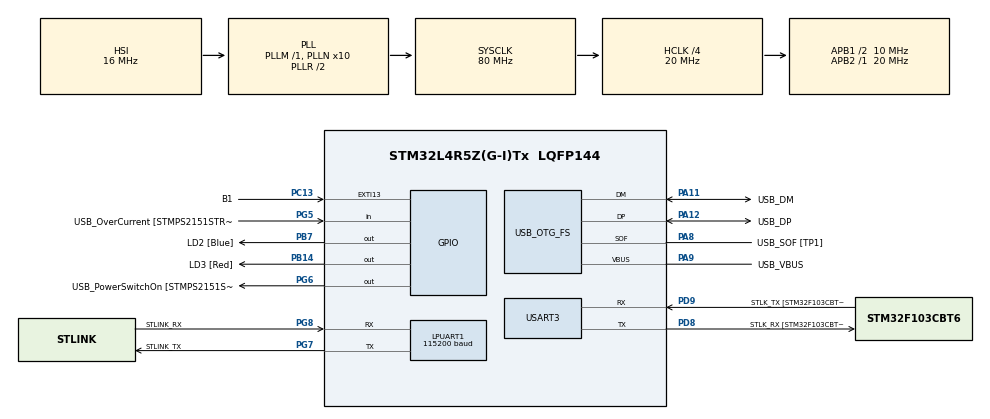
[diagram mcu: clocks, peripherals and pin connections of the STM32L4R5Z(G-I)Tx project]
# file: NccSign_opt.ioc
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LPUART1.BaudRate=115200
LPUART1.WordLength=UART_WORDLENGTH_8B
Mcu.Family=STM32L4
Mcu.Name=STM32L4R5Z(G-I)Tx
Mcu.Package=LQFP144
NVIC.PriorityGroup=NVIC_PRIORITYGROUP_4
PA10.GPIO_Label=USB_ID
PA10.Signal=USB_OTG_FS_ID
PA11.GPIO_Label=USB_DM
PA11.Mode=Device_Only
PA11.Signal=USB_OTG_FS_DM
PA12.GPIO_Label=USB_DP
PA12.Mode=Device_Only
PA12.Signal=USB_OTG_FS_DP
PA13\ (JTMS/SWDIO).GPIO_Label=TMS
PA13\ (JTMS/SWDIO).Mode=Trace_Asynchronous_SW
PA13\ (JTMS/SWDIO).Signal=SYS_JTMS-SWDIO
PA14\ (JTCK/SWCLK).GPIO_Label=TCK
PA14\ (JTCK/SWCLK).Mode=Trace_Asynchronous_SW
PA14\ (JTCK/SWCLK).Signal=SYS_JTCK-SWCLK
PA8.GPIO_Label=USB_SOF [TP1]
PA8.Mode=Activate_SOF_FS
PA8.Signal=USB_OTG_FS_SOF
PA9.GPIO_Label=USB_VBUS
PA9.Mode=Activate_VBUS
PA9.Signal=USB_OTG_FS_VBUS
PB14.GPIO_Label=LD3 [Red]
PB14.Signal=GPIO_Output
PB3\ (JTDO/TRACESWO).GPIO_Label=SWO
PB3\ (JTDO/TRACESWO).Mode=Trace_Asynchronous_SW
PB3\ (JTDO/TRACESWO).Signal=SYS_JTDO-SWO
PB7.GPIO_Label=LD2 [Blue]
PB7.Signal=GPIO_Output
PC13.GPIO_Label=B1
PC13.Signal=GPXTI13
PC14-OSC32_IN\ (PC14).Mode=LSE-External-Oscillator
PC14-OSC32_IN\ (PC14).Signal=RCC_OSC32_IN
PC15-OSC32_OUT\ (PC15).Mode=LSE-External-Oscillator
PC15-OSC32_OUT\ (PC15).Signal=RCC_OSC32_OUT
PD8.GPIO_Label=STLK_RX [STM32F103CBT6_PA3]
PD8.Mode=Asynchronous
PD8.Signal=USART3_TX
PD9.GPIO_Label=STLK_TX [STM32F103CBT6_PA2]
PD9.Mode=Asynchronous
PD9.Signal=USART3_RX
PG5.GPIO_Label=USB_OverCurrent [STMPS2151STR_FAULT]
PG5.Signal=GPIO_Input
PG6.GPIO_Label=USB_PowerSwitchOn [STMPS2151STR_EN]
PG6.Signal=GPIO_Output
PG7.GPIO_Label=STLINK_TX
PG7.Mode=Asynchronous
PG7.Signal=LPUART1_TX
PG8.GPIO_Label=STLINK_RX
PG8.Mode=Asynchronous
PG8.Signal=LPUART1_RX
PH0-OSC_IN\ (PH0).Signal=RCC_OSC_IN
PH1-OSC_OUT\ (PH1).Signal=RCC_OSC_OUT
ProjectManager.HeapSize=0x200
ProjectManager.StackSize=0x400
ProjectManager.TargetToolchain=STM32CubeIDE
RCC.48MHZClocksFreq_Value=24000000
RCC.ADCFreq_Value=96000000
RCC.AHBCLKDivider=RCC_SYSCLK_DIV4
RCC.AHBFreq_Value=20000000
RCC.APB1CLKDivider=RCC_HCLK_DIV2
RCC.APB1Freq_Value=10000000
RCC.APB1TimFreq_Value=20000000
RCC.APB2Freq_Value=20000000
RCC.APB2TimFreq_Value=20000000
RCC.CK48CLockSelection=RCC_USBCLKSOURCE_HSI48
RCC.CortexFreq_Value=20000000
RCC.HCLKFreq_Value=20000000
RCC.HSE_VALUE=8000000
RCC.HSI48_VALUE=48000000
RCC.HSI_VALUE=16000000
RCC.MSI_VALUE=4000000
RCC.PLLMUL=RCC_PLL_MUL9
RCC.PLLN=10
RCC.PLLSAI1N=12
RCC.PLLSourceVirtual=RCC_PLLSOURCE_HSI
RCC.PRESCALERUSB=RCC_USBCLKSOURCE_PLL_DIV1_5
RCC.SYSCLKFreq_VALUE=80000000
RCC.SYSCLKSource=RCC_SYSCLKSOURCE_PLLCLK
RCC.SYSCLKSourceVirtual=RCC_SYSCLKSOURCE_PLLCLK
RCC.USBFreq_Value=48000000
RCC.VCOOutputFreq_Value=160000000
USART3.VirtualMode-Asynchronous=VM_ASYNC
USB_OTG_FS.VirtualMode=Device_Only
board=NUCLEO-L4R5ZI

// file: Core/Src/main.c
/* USER CODE BEGIN Header */
/**
  ******************************************************************************
  * @file           : main.c
  * @brief          : Main program body
  ******************************************************************************
  * @attention
  *
  * Copyright (c) 2024 STMicroelectronics.
  * All rights reserved.
  *
  * This software is licensed under terms that can be found in the LICENSE file
  * in the root directory of this software component.
  * If no LICENSE file comes with this software, it is provided AS-IS.
  *
  ******************************************************************************
  */
/* USER CODE END Header */
#include "main.h"

/* USER CODE BEGIN Includes */
#include <stdio.h>
#include <time.h>
#include <stdlib.h>
#include "ncc/sign.h"
/* USER CODE END Includes */

UART_HandleTypeDef hlpuart1;
UART_HandleTypeDef huart3;

PCD_HandleTypeDef hpcd_USB_OTG_FS;

void SystemClock_Config(void);
static void MX_GPIO_Init(void);
static void MX_LPUART1_UART_Init(void);
static void MX_USART3_UART_Init(void);
static void MX_USB_OTG_FS_PCD_Init(void);

/* USER CODE BEGIN 0 */
int __io_putchar(int ch)
{
	HAL_UART_Transmit(&hlpuart1, (uint8_t*)&ch, 1, 100);
	return ch;
}

#define _TIMES_ 100

/* USER CODE END 0 */

int main(void)
{

  /* USER CODE BEGIN 1 */
	uint8_t pk[CRYPTO_PUBLICKEYBYTES];
	uint8_t sk[CRYPTO_SECRETKEYBYTES];
	uint8_t sig[CRYPTO_BYTES ];
	uint8_t m[32] = { 0x00, };
	size_t mlen = 32;
	size_t siglen = 0;
	int ret = 0;

    //address of the register
    volatile unsigned int *DWT_CYCCNT   = (volatile unsigned int *)0xE0001004;

    //address of the register
    volatile unsigned int *DWT_CONTROL  = (volatile unsigned int *)0xE0001000;

    //address of the register
    volatile unsigned int *DWT_LAR      = (volatile unsigned int *)0xE0001FB0;

    //address of the register
    volatile unsigned int *SCB_DEMCR    = (volatile unsigned int *)0xE000EDFC;

    int before, after, consumed_keygen = 0, consumed_sign = 0, consumed_verify = 0;

    *DWT_LAR = 0xC5ACCE55; // unlock (CM7)
    *SCB_DEMCR |= 0x01000000;
    *DWT_CYCCNT = 0; // reset the counter
    *DWT_CONTROL |= 1 ; // enable the counter

  /* USER CODE END 1 */

  /* MCU Configuration--------------------------------------------------------*/

  /* Reset of all peripherals, Initializes the Flash interface and the Systick. */
  HAL_Init();

  /* Configure the system clock */
  SystemClock_Config();

  /* Initialize all configured peripherals */
  MX_GPIO_Init();
  MX_LPUART1_UART_Init();
  MX_USART3_UART_Init();
  MX_USB_OTG_FS_PCD_Init();

  /* Infinite loop */
  /* USER CODE BEGIN WHILE */

  HAL_GPIO_WritePin(GPIOB, LD2_Pin|LD3_Pin, GPIO_PIN_SET);
  HAL_Delay(100);
  HAL_GPIO_WritePin(GPIOB, LD2_Pin|LD3_Pin, GPIO_PIN_RESET);
  HAL_Delay(100);

#if NIMS_TRI_NTT_MODE==1
  printf("[hello ncc1]\r\n");
#elif NIMS_TRI_NTT_MODE==3
  printf("[hello ncc3]\r\n");
#elif NIMS_TRI_NTT_MODE==5
  printf("[hello ncc5]\r\n");
#endif

  for(int i=0;i<_TIMES_; i++){
	  printf("(%d, ", i);
	  before = *DWT_CYCCNT;
	  crypto_sign_keypair(pk, sk);
	  after = *DWT_CYCCNT;
	  consumed_keygen += (after - before - 2);

	  before = *DWT_CYCCNT;
	  ret = crypto_sign_signature(sig, &siglen, m, mlen, sk);
	  after = *DWT_CYCCNT;
	  consumed_sign += (after - before - 2);
	  printf(",%d", ret);

	  before = *DWT_CYCCNT;
	  ret = crypto_sign_verify(sig, siglen, m, mlen, pk);
	  after = *DWT_CYCCNT;
	  consumed_verify += (after - before - 2);
	  printf(", %d)\r\n", ret);
  }

  printf("keygen cc : %d\r\n", consumed_keygen/_TIMES_);
  printf("sign cc : %d\r\n", consumed_sign/_TIMES_);
  printf("verify cc : %d\r\n", consumed_verify/_TIMES_);

  while (1)
  {
    /* USER CODE END WHILE */

  }
}

void SystemClock_Config(void)
{
  RCC_OscInitTypeDef RCC_OscInitStruct = {0};
  RCC_ClkInitTypeDef RCC_ClkInitStruct = {0};

  /** Configure the main internal regulator output voltage
  */
  if (HAL_PWREx_ControlVoltageScaling(PWR_REGULATOR_VOLTAGE_SCALE1) != HAL_OK)
  {
    Error_Handler();
  }

  /** Initializes the RCC Oscillators according to the specified parameters
  * in the RCC_OscInitTypeDef structure.
  */
  RCC_OscInitStruct.OscillatorType = RCC_OSCILLATORTYPE_HSI48|RCC_OSCILLATORTYPE_HSI;
  RCC_OscInitStruct.HSIState = RCC_HSI_ON;
  RCC_OscInitStruct.HSI48State = RCC_HSI48_ON;
  RCC_OscInitStruct.HSICalibrationValue = RCC_HSICALIBRATION_DEFAULT;
  RCC_OscInitStruct.PLL.PLLState = RCC_PLL_ON;
  RCC_OscInitStruct.PLL.PLLSource = RCC_PLLSOURCE_HSI;
  RCC_OscInitStruct.PLL.PLLM = 1;
  RCC_OscInitStruct.PLL.PLLN = 10;
  RCC_OscInitStruct.PLL.PLLP = RCC_PLLP_DIV2;
  RCC_OscInitStruct.PLL.PLLQ = RCC_PLLQ_DIV2;
  RCC_OscInitStruct.PLL.PLLR = RCC_PLLR_DIV2;
  if (HAL_RCC_OscConfig(&RCC_OscInitStruct) != HAL_OK)
  {
    Error_Handler();
  }

  /** Initializes the CPU, AHB and APB buses clocks
  */
  RCC_ClkInitStruct.ClockType = RCC_CLOCKTYPE_HCLK|RCC_CLOCKTYPE_SYSCLK
                              |RCC_CLOCKTYPE_PCLK1|RCC_CLOCKTYPE_PCLK2;
  RCC_ClkInitStruct.SYSCLKSource = RCC_SYSCLKSOURCE_PLLCLK;
  RCC_ClkInitStruct.AHBCLKDivider = RCC_SYSCLK_DIV4;
  RCC_ClkInitStruct.APB1CLKDivider = RCC_HCLK_DIV2;
  RCC_ClkInitStruct.APB2CLKDivider = RCC_HCLK_DIV1;

  if (HAL_RCC_ClockConfig(&RCC_ClkInitStruct, FLASH_LATENCY_0) != HAL_OK)
  {
    Error_Handler();
  }
}

static void MX_LPUART1_UART_Init(void)
{

  hlpuart1.Instance = LPUART1;
  hlpuart1.Init.BaudRate = 115200;
  hlpuart1.Init.WordLength = UART_WORDLENGTH_8B;
  hlpuart1.Init.StopBits = UART_STOPBITS_1;
  hlpuart1.Init.Parity = UART_PARITY_NONE;
  hlpuart1.Init.Mode = UART_MODE_TX_RX;
  hlpuart1.Init.HwFlowCtl = UART_HWCONTROL_NONE;
  hlpuart1.Init.OneBitSampling = UART_ONE_BIT_SAMPLE_DISABLE;
  hlpuart1.Init.ClockPrescaler = UART_PRESCALER_DIV1;
  hlpuart1.AdvancedInit.AdvFeatureInit = UART_ADVFEATURE_NO_INIT;
  hlpuart1.FifoMode = UART_FIFOMODE_DISABLE;
  if (HAL_UART_Init(&hlpuart1) != HAL_OK)
  {
    Error_Handler();
  }
  if (HAL_UARTEx_SetTxFifoThreshold(&hlpuart1, UART_TXFIFO_THRESHOLD_1_8) != HAL_OK)
  {
    Error_Handler();
  }
  if (HAL_UARTEx_SetRxFifoThreshold(&hlpuart1, UART_RXFIFO_THRESHOLD_1_8) != HAL_OK)
  {
    Error_Handler();
  }
  if (HAL_UARTEx_DisableFifoMode(&hlpuart1) != HAL_OK)
  {
    Error_Handler();
  }

}

static void MX_USART3_UART_Init(void)
{

  huart3.Instance = USART3;
  huart3.Init.BaudRate = 115200;
  huart3.Init.WordLength = UART_WORDLENGTH_8B;
  huart3.Init.StopBits = UART_STOPBITS_1;
  huart3.Init.Parity = UART_PARITY_NONE;
  huart3.Init.Mode = UART_MODE_TX_RX;
  huart3.Init.HwFlowCtl = UART_HWCONTROL_NONE;
  huart3.Init.OverSampling = UART_OVERSAMPLING_16;
  huart3.Init.OneBitSampling = UART_ONE_BIT_SAMPLE_DISABLE;
  huart3.Init.ClockPrescaler = UART_PRESCALER_DIV1;
  huart3.AdvancedInit.AdvFeatureInit = UART_ADVFEATURE_NO_INIT;
  if (HAL_UART_Init(&huart3) != HAL_OK)
  {
    Error_Handler();
  }
  if (HAL_UARTEx_SetTxFifoThreshold(&huart3, UART_TXFIFO_THRESHOLD_1_8) != HAL_OK)
  {
    Error_Handler();
  }
  if (HAL_UARTEx_SetRxFifoThreshold(&huart3, UART_RXFIFO_THRESHOLD_1_8) != HAL_OK)
  {
    Error_Handler();
  }
  if (HAL_UARTEx_DisableFifoMode(&huart3) != HAL_OK)
  {
    Error_Handler();
  }

}

static void MX_USB_OTG_FS_PCD_Init(void)
{

  hpcd_USB_OTG_FS.Instance = USB_OTG_FS;
  hpcd_USB_OTG_FS.Init.dev_endpoints = 6;
  hpcd_USB_OTG_FS.Init.speed = PCD_SPEED_FULL;
  hpcd_USB_OTG_FS.Init.phy_itface = PCD_PHY_EMBEDDED;
  hpcd_USB_OTG_FS.Init.Sof_enable = ENABLE;
  hpcd_USB_OTG_FS.Init.low_power_enable = DISABLE;
  hpcd_USB_OTG_FS.Init.lpm_enable = DISABLE;
  hpcd_USB_OTG_FS.Init.battery_charging_enable = ENABLE;
  hpcd_USB_OTG_FS.Init.use_dedicated_ep1 = DISABLE;
  hpcd_USB_OTG_FS.Init.vbus_sensing_enable = ENABLE;
  if (HAL_PCD_Init(&hpcd_USB_OTG_FS) != HAL_OK)
  {
    Error_Handler();
  }

}

static void MX_GPIO_Init(void)
{
  GPIO_InitTypeDef GPIO_InitStruct = {0};

  /* GPIO Ports Clock Enable */
  __HAL_RCC_GPIOC_CLK_ENABLE();
  __HAL_RCC_GPIOH_CLK_ENABLE();
  __HAL_RCC_GPIOB_CLK_ENABLE();
  __HAL_RCC_GPIOD_CLK_ENABLE();
  __HAL_RCC_GPIOG_CLK_ENABLE();
  HAL_PWREx_EnableVddIO2();
  __HAL_RCC_GPIOA_CLK_ENABLE();

  /*Configure GPIO pin Output Level */
  HAL_GPIO_WritePin(GPIOB, LD3_Pin|LD2_Pin, GPIO_PIN_RESET);

  /*Configure GPIO pin Output Level */
  HAL_GPIO_WritePin(USB_PowerSwitchOn_GPIO_Port, USB_PowerSwitchOn_Pin, GPIO_PIN_RESET);

  /*Configure GPIO pin : B1_Pin */
  GPIO_InitStruct.Pin = B1_Pin;
  GPIO_InitStruct.Mode = GPIO_MODE_IT_RISING;
  GPIO_InitStruct.Pull = GPIO_NOPULL;
  HAL_GPIO_Init(B1_GPIO_Port, &GPIO_InitStruct);

  /*Configure GPIO pins : LD3_Pin LD2_Pin */
  GPIO_InitStruct.Pin = LD3_Pin|LD2_Pin;
  GPIO_InitStruct.Mode = GPIO_MODE_OUTPUT_PP;
  GPIO_InitStruct.Pull = GPIO_NOPULL;
  GPIO_InitStruct.Speed = GPIO_SPEED_FREQ_LOW;
  HAL_GPIO_Init(GPIOB, &GPIO_InitStruct);

  /*Configure GPIO pin : USB_OverCurrent_Pin */
  GPIO_InitStruct.Pin = USB_OverCurrent_Pin;
  GPIO_InitStruct.Mode = GPIO_MODE_INPUT;
  GPIO_InitStruct.Pull = GPIO_NOPULL;
  HAL_GPIO_Init(USB_OverCurrent_GPIO_Port, &GPIO_InitStruct);

  /*Configure GPIO pin : USB_PowerSwitchOn_Pin */
  GPIO_InitStruct.Pin = USB_PowerSwitchOn_Pin;
  GPIO_InitStruct.Mode = GPIO_MODE_OUTPUT_PP;
  GPIO_InitStruct.Pull = GPIO_NOPULL;
  GPIO_InitStruct.Speed = GPIO_SPEED_FREQ_LOW;
  HAL_GPIO_Init(USB_PowerSwitchOn_GPIO_Port, &GPIO_InitStruct);

}

void Error_Handler(void)
{
  __disable_irq();
  while (1)
  {
  }
}
